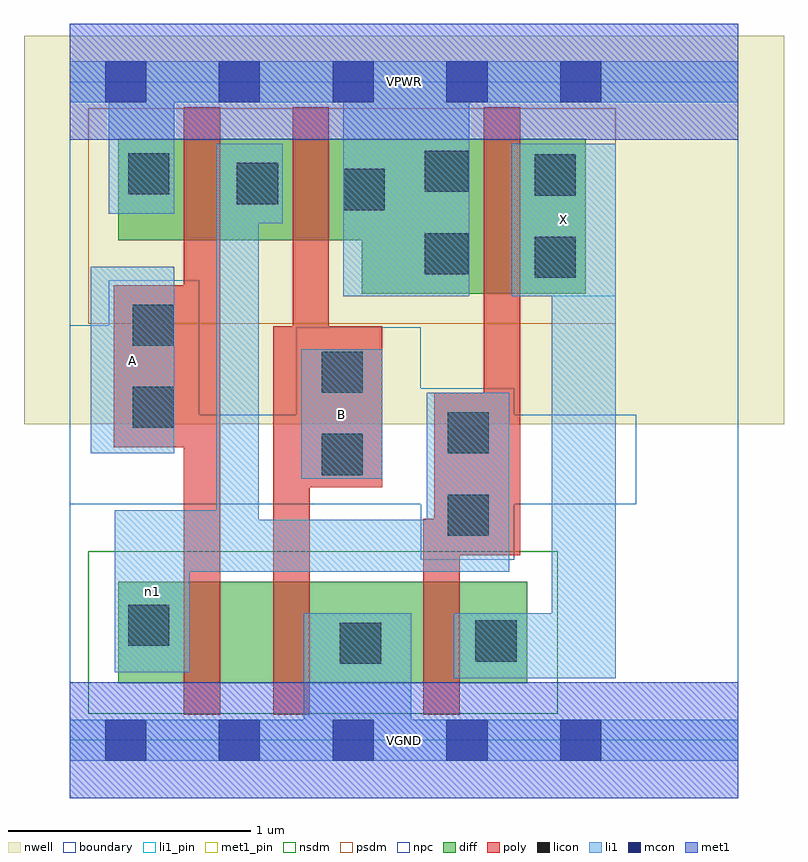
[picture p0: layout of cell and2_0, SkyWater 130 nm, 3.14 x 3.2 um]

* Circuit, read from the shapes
.subckt and2_0 A B VGND VPWR X n1
XM1 n2 A n1 VSUBS sky130_fd_pr__nfet_01v8 w=0.42 l=0.15
XM2 VGND B n2 VSUBS sky130_fd_pr__nfet_01v8 w=0.42 l=0.15
XM3 X n1 VGND VSUBS sky130_fd_pr__nfet_01v8 w=0.42 l=0.15
XM4 n1 A VPWR n3 sky130_fd_pr__pfet_01v8 w=0.42 l=0.15
XM5 VPWR B n1 n3 sky130_fd_pr__pfet_01v8 w=0.42 l=0.15
XM6 X n1 VPWR n3 sky130_fd_pr__pfet_01v8 w=0.64 l=0.15
.ends

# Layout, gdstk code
import gdstk
lib = gdstk.Library(unit=1e-6, precision=1e-09)
def R(c, l, rs):  # rectangles x0, y0, x1, y1
    for r in rs: c.add(gdstk.rectangle(r[:2], r[2:], *l))
def A(c, l, x, y, w, h, nx, ny, dx, dy):  # array of equal rectangles
    R(c, l, [(x+i*dx, y+j*dy, x+i*dx+w, y+j*dy+h) for i in range(nx) for j in range(ny)])
nwell = (64, 20)
diff = (65, 20)
poly = (66, 20)
licon = (66, 44)
li1_pin = (67, 16)
li1 = (67, 20)
mcon = (67, 44)
met1_pin = (68, 16)
met1 = (68, 20)
nsdm = (93, 44)
psdm = (94, 20)
npc = (95, 20)
boundary = (235, 4)

and2_0 = lib.new_cell('and2_0')
R(and2_0, nwell, [(-0.19,1.305,2.95,2.91), (0,1.305,2.76,2.91)])
R(and2_0, diff, [(0.2,0.235,1.89,0.655), (1.205,1.845,2.13,2.485), (0.2,2.065,2.13,2.485)])
R(and2_0, poly, [(0.47,0.105,0.62,2.615), (0.84,0.105,0.99,1.71), (1.46,0.105,1.61,0.915), (1.505,0.765,1.71,1.435), (1.71,0.765,1.86,2.615), (0.84,1.045,1.29,1.71), (0.92,1.045,1.07,2.615), (0.18,1.21,0.62,1.88)])
R(and2_0, licon, [(1.115,0.315,1.285,0.485), (1.675,0.325,1.845,0.495), (0.24,0.39,0.41,0.56), (1.56,0.845,1.73,1.015), (1.04,1.095,1.21,1.265), (1.56,1.185,1.73,1.355), (0.26,1.29,0.43,1.46), (1.04,1.435,1.21,1.605), (0.26,1.63,0.43,1.8), (1.92,1.91,2.09,2.08), (1.465,1.925,1.635,2.095), (1.475,1.925,1.645,2.095), (1.13,2.19,1.3,2.36), (0.69,2.215,0.86,2.385), (1.92,2.25,2.09,2.42), (0.24,2.255,0.41,2.425), (1.465,2.265,1.635,2.435), (1.475,2.265,1.645,2.435)])
R(and2_0, li1_pin, [(0.955,1.08,1.29,1.615), (0.085,1.185,0.43,1.955), (1.825,1.835,2.255,2.465)])
R(and2_0, li1, [(0,-0.085,2.76,0.085), (0.965,-0.085,1.41,0.525), (1.585,0.255,2.255,0.525), (1.99,0.255,2.255,2.465), (0.185,0.28,0.495,0.95), (0.185,0.695,1.815,0.91), (0.185,0.695,0.78,0.95), (0.605,0.695,0.78,2.465), (1.475,0.695,1.815,1.435), (0.955,1.08,1.29,1.615), (0.085,1.185,0.43,1.955), (1.13,1.835,1.65,2.805), (1.825,1.835,2.255,2.465), (0.605,2.135,0.88,2.465), (0.16,2.175,0.43,2.805), (0,2.635,2.76,2.805)])
A(and2_0, mcon, 0.145, -0.085, 0.17, 0.17, 5, 2, 0.47, 2.72)
R(and2_0, met1_pin, [(0,-0.24,2.76,0.24), (0,2.48,2.76,2.96)])
R(and2_0, met1, [(0,-0.24,2.76,0.24), (0,2.48,2.76,2.96)])
R(and2_0, nsdm, [(0.075,0.11,2.015,0.78)])
R(and2_0, psdm, [(0.075,1.72,2.255,2.61)])
R(and2_0, npc, [(1.45,0.745,1.835,1.455), (0,0.975,2.34,1.345), (0,0.975,0.535,1.715), (0.16,0.975,0.535,1.9), (0.935,0.975,1.45,1.705)])
R(and2_0, boundary, [(0,0,2.76,2.72)])
and2_0.add(gdstk.Label('A', (0.257,1.57), layer=67, texttype=5))
and2_0.add(gdstk.Label('B', (1.122,1.347), layer=67, texttype=5))
and2_0.add(gdstk.Label('X', (2.04,2.15), layer=67, texttype=5))
and2_0.add(gdstk.Label('n1', (0.34,0.615), layer=67, texttype=5))
and2_0.add(gdstk.Label('VPWR', (1.38,2.72), layer=68, texttype=5))
and2_0.add(gdstk.Label('VGND', (1.38,0), layer=68, texttype=5))
and2_0.add(gdstk.Label('A', (0.257,1.57), layer=67, texttype=16))
and2_0.add(gdstk.Label('B', (1.122,1.347), layer=67, texttype=16))
and2_0.add(gdstk.Label('X', (2.04,2.15), layer=67, texttype=16))
and2_0.add(gdstk.Label('VPWR', (1.38,2.72), layer=68, texttype=16))
and2_0.add(gdstk.Label('VGND', (1.38,0), layer=68, texttype=16))

lib.write_gds('and2_0.gds')
